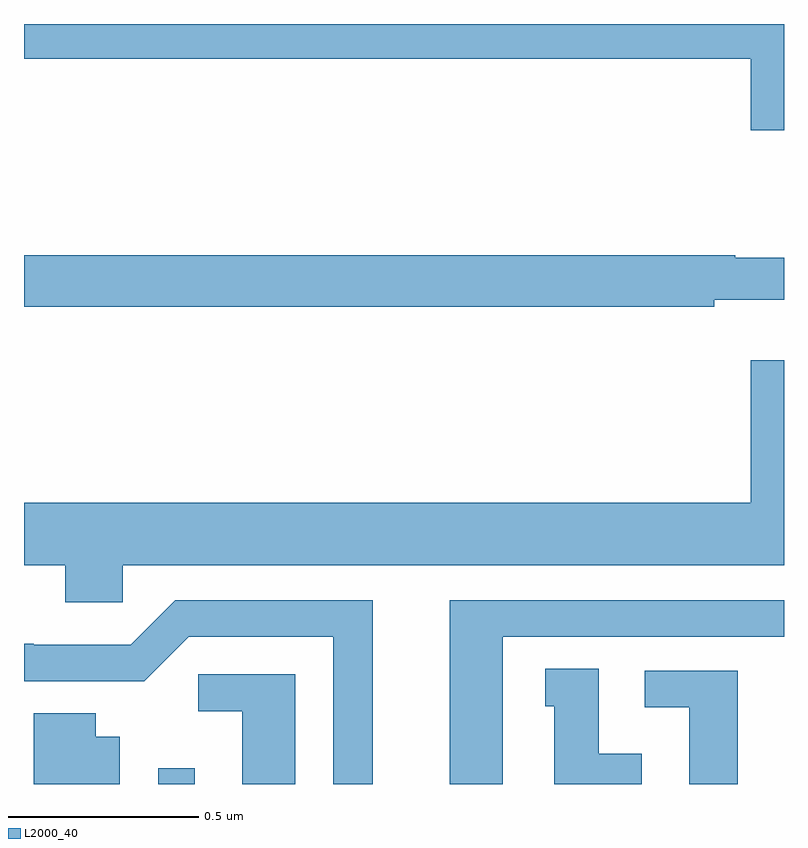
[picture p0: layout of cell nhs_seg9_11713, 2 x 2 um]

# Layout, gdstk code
import gdstk
lib = gdstk.Library(unit=1e-6, precision=1e-09)
def R(c, l, rs):  # rectangles x0, y0, x1, y1
    for r in rs: c.add(gdstk.rectangle(r[:2], r[2:], *l))
def P(c, l, *ps):  # polygons
    for p in ps: c.add(gdstk.Polygon(p, *l))
L2000_40 = (2000, 40)

nhs_seg9_11713 = lib.new_cell('nhs_seg9_11713')
R(nhs_seg9_11713, L2000_40, [(259.353,1206.5,259.449,1206.541)])
P(nhs_seg9_11713, L2000_40, [(261,1208.5),(259,1208.5),(259,1208.408),(260.912,1208.408),(260.912,1208.22),(261,1208.22)],
  [(260.816,1207.775),(261,1207.775),(261,1207.885),(260.872,1207.885),(260.872,1207.892),(259,1207.892),(259,1207.756),(260.816,1207.756)],
  [(259.26,1207.076),(261,1207.076),(261,1207.615),(260.912,1207.615),(260.912,1207.24),(259,1207.24),(259,1207.076),(259.109,1207.076),(259.109,1206.978),(259.26,1206.978)],
  [(259.918,1206.984),(259.398,1206.984),(259.281,1206.867),(259.025,1206.867),(259.025,1206.869),(259,1206.869),(259,1206.771),(259.22,1206.771),(259.22,1206.77),(259.316,1206.77),(259.434,1206.888),(259.814,1206.888),(259.814,1206.5),(259.918,1206.5)],
  [(260.26,1206.888),(261,1206.888),(261,1206.984),(260.12,1206.984),(260.12,1206.5),(260.26,1206.5)],
  [(260.626,1206.58),(260.512,1206.58),(260.512,1206.803),(260.372,1206.803),(260.372,1206.705),(260.396,1206.705),(260.396,1206.5),(260.626,1206.5)],
  [(260.878,1206.798),(260.634,1206.798),(260.634,1206.702),(260.75,1206.702),(260.75,1206.5),(260.878,1206.5)],
  [(259.714,1206.789),(259.458,1206.789),(259.458,1206.692),(259.574,1206.692),(259.574,1206.5),(259.714,1206.5)],
  [(259.252,1206.625),(259.189,1206.625),(259.189,1206.686),(259.025,1206.686),(259.025,1206.5),(259.252,1206.5)])

lib.write_gds('nhs_seg9_11713.gds')
